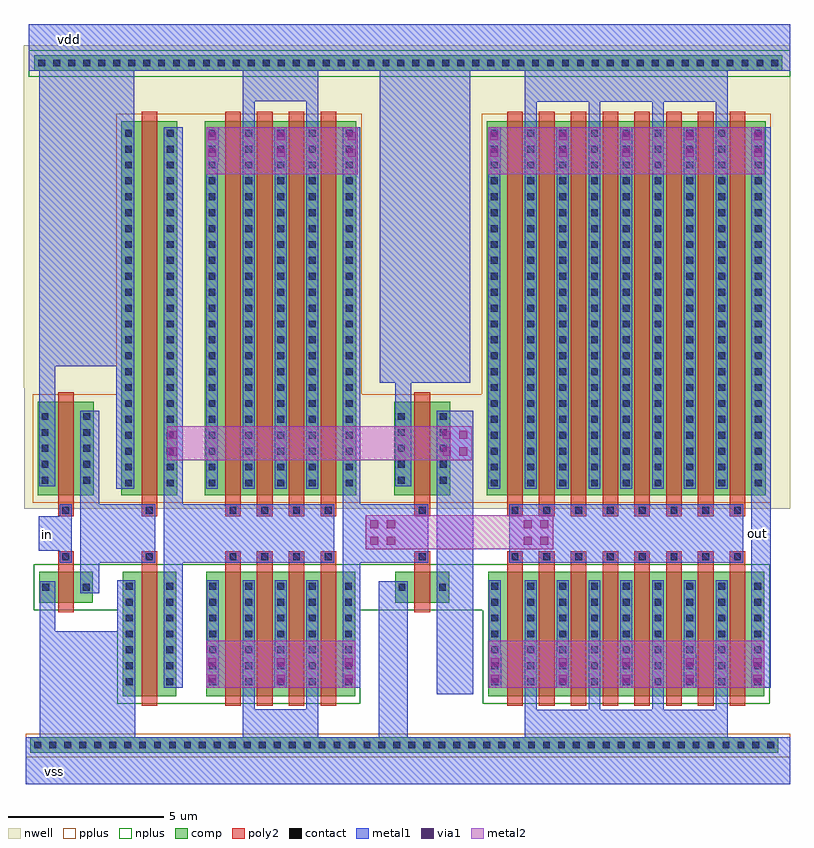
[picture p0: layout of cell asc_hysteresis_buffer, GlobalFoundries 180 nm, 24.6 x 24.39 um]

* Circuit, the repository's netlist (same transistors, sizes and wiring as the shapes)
* Extracted by KLayout with GF180MCU LVS runset on : 02/09/2025 04:54

.SUBCKT asc_hysteresis_buffer vss in vdd out
M$1 \$5 in vdd vdd pfet_03v3 L=0.5U W=3U AS=1.95P AD=1.95P PS=7.3U PD=7.3U
M$2 \$2 \$3 vdd vdd pfet_03v3 L=0.5U W=3U AS=1.95P AD=1.95P PS=7.3U PD=7.3U
M$3 \$2 \$5 vdd vdd pfet_03v3 L=0.5U W=12U AS=7.8P AD=7.8P PS=25.3U PD=25.3U
M$4 vdd \$2 \$3 vdd pfet_03v3 L=0.5U W=48U AS=17.16P AD=17.16P PS=62.86U
+ PD=62.86U
M$8 vdd \$3 out vdd pfet_03v3 L=0.5U W=96U AS=29.64P AD=29.64P PS=112.94U
+ PD=112.94U
M$16 \$5 in vss vss nfet_03v3 L=0.5U W=1U AS=0.61P AD=0.61P PS=3.22U PD=3.22U
M$17 \$2 \$5 vss vss nfet_03v3 L=0.5U W=4U AS=2.44P AD=2.44P PS=9.22U PD=9.22U
M$18 vss \$2 \$3 vss nfet_03v3 L=0.5U W=16U AS=5.56P AD=5.56P PS=22.78U
+ PD=22.78U
M$22 \$2 \$3 vss vss nfet_03v3 L=0.5U W=1U AS=0.61P AD=0.61P PS=3.22U PD=3.22U
M$23 vss \$3 out vss nfet_03v3 L=0.5U W=32U AS=9.72P AD=9.72P PS=40.86U
+ PD=40.86U
.ENDS asc_hysteresis_buffer

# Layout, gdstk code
from math import pi, radians
import gdstk
lib = gdstk.Library(unit=1e-6, precision=5e-09)
def R(c, l, rs):  # rectangles x0, y0, x1, y1
    for r in rs: c.add(gdstk.rectangle(r[:2], r[2:], *l))
def A(c, l, x, y, w, h, nx, ny, dx, dy):  # array of equal rectangles
    R(c, l, [(x+i*dx, y+j*dy, x+i*dx+w, y+j*dy+h) for i in range(nx) for j in range(ny)])
nwell = (21, 0)
comp = (22, 0)
poly2 = (30, 0)
pplus = (31, 0)
nplus = (32, 0)
contact = (33, 0)
metal1 = (34, 0)
via1 = (35, 0)
metal2 = (36, 0)

via_dev = lib.new_cell('via_dev')
R(via_dev, metal1, [(0,0,1.1,0.4)])
R(via_dev, via1, [(0.155,0.07,0.415,0.33), (0.685,0.07,0.945,0.33)])
R(via_dev, metal2, [(0,0,1.1,0.4)])

nfet = lib.new_cell('nfet')
R(nfet, comp, [(-0.42,0,0,4), (0,0,3.94,4), (3.94,0,4.36,4)])
A(nfet, poly2, 0.19, -0.3, 0.5, 4.6, 4, 1, 1.02, 0)
A(nfet, poly2, 0.19, 4.3, 0.5, 0.36, 4, 1, 1.02, 0)
R(nfet, nplus, [(-0.59,-0.24,4.53,4.24)])
A(nfet, contact, -0.32, 0.36, 0.22, 0.22, 1, 7, 0, 0.51)
A(nfet, contact, 0.84, 0.36, 0.22, 0.22, 3, 7, 1.02, 0.51)
A(nfet, contact, 4.04, 0.36, 0.22, 0.22, 1, 7, 0, 0.51)
A(nfet, contact, 0.33, 4.37, 0.22, 0.22, 4, 1, 1.02, 0)
A(nfet, metal1, 0.76, 0.28, 0.38, 3.44, 3, 1, 1.02, 0)
A(nfet, metal1, 0.25, 4.29, 0.38, 0.38, 4, 1, 1.02, 0)
R(nfet, metal1, [(-0.4,0.28,-0.02,3.72), (3.96,0.28,4.34,3.72)])

via_dev_5 = lib.new_cell('via_dev$5')
R(via_dev_5, comp, [(0,0,24,0.5)])
A(via_dev_5, contact, 0.13, 0.14, 0.22, 0.22, 50, 1, 0.48, 0)
R(via_dev_5, metal1, [(0,0,24,0.5)])

via_dev_2 = lib.new_cell('via_dev$2')

pfet_1 = lib.new_cell('pfet$1')
R(pfet_1, nwell, [(-0.9,-0.44,4.84,12.44)])
R(pfet_1, comp, [(-0.46,0,0,12), (0,0,3.94,12), (3.94,0,4.4,12)])
A(pfet_1, poly2, 0.19, -0.68, 0.5, 0.38, 4, 1, 1.02, 0)
A(pfet_1, poly2, 0.19, -0.3, 0.5, 12.6, 4, 1, 1.02, 0)
R(pfet_1, pplus, [(-0.63,-0.24,4.57,12.24)])
A(pfet_1, contact, 0.33, -0.6, 0.22, 0.22, 4, 1, 1.02, 0)
A(pfet_1, contact, -0.34, 0.28, 0.22, 0.22, 1, 23, 0, 0.51)
A(pfet_1, contact, 0.84, 0.28, 0.22, 0.22, 3, 23, 1.02, 0.51)
A(pfet_1, contact, 4.06, 0.28, 0.22, 0.22, 1, 23, 0, 0.51)
A(pfet_1, metal1, 0.25, -0.68, 0.38, 0.38, 4, 1, 1.02, 0)
A(pfet_1, metal1, 0.76, 0.2, 0.38, 11.6, 3, 1, 1.02, 0)
R(pfet_1, metal1, [(-0.42,0.2,-0.04,11.8), (3.98,0.2,4.36,11.8)])

nfet_2 = lib.new_cell('nfet$2')
R(nfet_2, comp, [(-0.42,0,0,4), (0,0,0.88,4), (0.88,0,1.3,4)])
R(nfet_2, poly2, [(0.19,-0.3,0.69,4.3), (0.19,4.3,0.69,4.66)])
R(nfet_2, nplus, [(-0.59,-0.24,1.47,4.24)])
A(nfet_2, contact, -0.32, 0.36, 0.22, 0.22, 1, 7, 0, 0.51)
A(nfet_2, contact, 0.98, 0.36, 0.22, 0.22, 1, 7, 0, 0.51)
R(nfet_2, contact, [(0.33,4.37,0.55,4.59)])
R(nfet_2, metal1, [(-0.4,0.28,-0.02,3.72), (0.9,0.28,1.28,3.72), (0.25,4.29,0.63,4.67)])

pfet_2 = lib.new_cell('pfet$2')
R(pfet_2, nwell, [(-0.9,-0.44,1.78,12.44)])
R(pfet_2, comp, [(-0.46,0,0,12), (0,0,0.88,12), (0.88,0,1.34,12)])
R(pfet_2, poly2, [(0.19,-0.68,0.69,-0.3), (0.19,-0.3,0.69,12.3)])
R(pfet_2, pplus, [(-0.63,-0.24,1.51,12.24)])
A(pfet_2, contact, -0.34, 0.28, 0.22, 0.22, 1, 23, 0, 0.51)
A(pfet_2, contact, 1, 0.28, 0.22, 0.22, 1, 23, 0, 0.51)
R(pfet_2, contact, [(0.33,-0.6,0.55,-0.38)])
R(pfet_2, metal1, [(0.25,-0.68,0.63,-0.3), (-0.42,0.2,-0.04,11.8), (0.92,0.2,1.3,11.8)])

nfet_3 = lib.new_cell('nfet$3')
R(nfet_3, comp, [(-0.42,0,0,1), (0,0,0.88,1), (0.88,0,1.3,1)])
R(nfet_3, poly2, [(0.19,-0.3,0.69,1.3), (0.19,1.3,0.69,1.66)])
R(nfet_3, nplus, [(-0.59,-0.24,1.47,1.24)])
R(nfet_3, contact, [(-0.32,0.39,-0.1,0.61), (0.98,0.39,1.2,0.61), (0.33,1.37,0.55,1.59)])
R(nfet_3, metal1, [(-0.4,0.31,-0.02,0.69), (0.9,0.31,1.28,0.69), (0.25,1.29,0.63,1.67)])

pfet_3 = lib.new_cell('pfet$3')
R(pfet_3, nwell, [(-0.9,-0.44,1.78,3.44)])
R(pfet_3, comp, [(-0.46,0,0,3), (0,0,0.88,3), (0.88,0,1.34,3)])
R(pfet_3, poly2, [(0.19,-0.68,0.69,-0.3), (0.19,-0.3,0.69,3.3)])
R(pfet_3, pplus, [(-0.63,-0.24,1.51,3.24)])
A(pfet_3, contact, -0.34, 0.37, 0.22, 0.22, 1, 5, 0, 0.51)
A(pfet_3, contact, 1, 0.37, 0.22, 0.22, 1, 5, 0, 0.51)
R(pfet_3, contact, [(0.33,-0.6,0.55,-0.38)])
R(pfet_3, metal1, [(0.25,-0.68,0.63,-0.3), (-0.42,0.29,-0.04,2.71), (0.92,0.29,1.3,2.71)])

nfet_1 = lib.new_cell('nfet$1')
R(nfet_1, comp, [(-0.42,0,0,4), (0,0,8.02,4), (8.02,0,8.44,4)])
A(nfet_1, poly2, 0.19, -0.3, 0.5, 4.6, 8, 1, 1.02, 0)
A(nfet_1, poly2, 0.19, 4.3, 0.5, 0.36, 8, 1, 1.02, 0)
R(nfet_1, nplus, [(-0.59,-0.24,8.61,4.24)])
A(nfet_1, contact, -0.32, 0.36, 0.22, 0.22, 1, 7, 0, 0.51)
A(nfet_1, contact, 0.84, 0.36, 0.22, 0.22, 7, 7, 1.02, 0.51)
A(nfet_1, contact, 8.12, 0.36, 0.22, 0.22, 1, 7, 0, 0.51)
A(nfet_1, contact, 0.33, 4.37, 0.22, 0.22, 8, 1, 1.02, 0)
A(nfet_1, metal1, 0.76, 0.28, 0.38, 3.44, 7, 1, 1.02, 0)
A(nfet_1, metal1, 0.25, 4.29, 0.38, 0.38, 8, 1, 1.02, 0)
R(nfet_1, metal1, [(-0.4,0.28,-0.02,3.72), (8.04,0.28,8.42,3.72)])

pfet = lib.new_cell('pfet')
R(pfet, nwell, [(-0.9,-0.44,8.92,12.44)])
R(pfet, comp, [(-0.46,0,0,12), (0,0,8.02,12), (8.02,0,8.48,12)])
A(pfet, poly2, 0.19, -0.68, 0.5, 0.38, 8, 1, 1.02, 0)
A(pfet, poly2, 0.19, -0.3, 0.5, 12.6, 8, 1, 1.02, 0)
R(pfet, pplus, [(-0.63,-0.24,8.65,12.24)])
A(pfet, contact, 0.33, -0.6, 0.22, 0.22, 8, 1, 1.02, 0)
A(pfet, contact, -0.34, 0.28, 0.22, 0.22, 1, 23, 0, 0.51)
A(pfet, contact, 0.84, 0.28, 0.22, 0.22, 7, 23, 1.02, 0.51)
A(pfet, contact, 8.14, 0.28, 0.22, 0.22, 1, 23, 0, 0.51)
A(pfet, metal1, 0.25, -0.68, 0.38, 0.38, 8, 1, 1.02, 0)
A(pfet, metal1, 0.76, 0.2, 0.38, 11.6, 7, 1, 1.02, 0)
R(pfet, metal1, [(-0.42,0.2,-0.04,11.8), (8.06,0.2,8.44,11.8)])

nfet_4 = lib.new_cell('nfet$4')
R(nfet_4, comp, [(-0.42,0,0,1), (0,0,0.88,1), (0.88,0,1.3,1)])
R(nfet_4, poly2, [(0.19,-0.3,0.69,1.3), (0.19,1.3,0.69,1.66)])
R(nfet_4, nplus, [(-0.59,-0.24,1.47,1.24)])
R(nfet_4, contact, [(-0.32,0.39,-0.1,0.61), (0.98,0.39,1.2,0.61), (0.33,1.37,0.55,1.59)])
R(nfet_4, metal1, [(-0.4,0.31,-0.02,0.69), (0.9,0.31,1.28,0.69), (0.25,1.29,0.63,1.67)])

pfet_4 = lib.new_cell('pfet$4')
R(pfet_4, nwell, [(-0.9,-0.44,1.78,3.44)])
R(pfet_4, comp, [(-0.46,0,0,3), (0,0,0.88,3), (0.88,0,1.34,3)])
R(pfet_4, poly2, [(0.19,-0.68,0.69,-0.3), (0.19,-0.3,0.69,3.3)])
R(pfet_4, pplus, [(-0.63,-0.24,1.51,3.24)])
A(pfet_4, contact, -0.34, 0.37, 0.22, 0.22, 1, 5, 0, 0.51)
A(pfet_4, contact, 1, 0.37, 0.22, 0.22, 1, 5, 0, 0.51)
R(pfet_4, contact, [(0.33,-0.6,0.55,-0.38)])
R(pfet_4, metal1, [(0.25,-0.68,0.63,-0.3), (-0.42,0.29,-0.04,2.71), (0.92,0.29,1.3,2.71)])

via_dev_4 = lib.new_cell('via_dev$4')
R(via_dev_4, metal1, [(0,0,1.1,1.1)])
R(via_dev_4, via1, [(0.155,0.155,0.415,0.415), (0.685,0.155,0.945,0.415), (0.155,0.685,0.415,0.945), (0.685,0.685,0.945,0.945)])
R(via_dev_4, metal2, [(0,0,1.1,1.1)])

via_dev_6 = lib.new_cell('via_dev$6')
R(via_dev_6, metal1, [(0,0,1.1,0.4)])
R(via_dev_6, via1, [(0.155,0.07,0.415,0.33), (0.685,0.07,0.945,0.33)])
R(via_dev_6, metal2, [(0,0,1.1,0.4)])

asc_hysteresis_buffer = lib.new_cell('asc_hysteresis_buffer')
R(asc_hysteresis_buffer, nwell, [(11.04,5.945,14.35,18.825), (20.86,5.945,24.525,18.825), (-0.075,9.825,2.62,18.625), (-0.075,18.625,2.62,18.825), (-0.075,18.825,24.525,20.825)])
R(asc_hysteresis_buffer, pplus, [(-0.01,-2.025,24.525,-1.275), (2.35,6.145,2.89,9.625), (5.03,6.145,5.57,18.625), (10.77,6.145,11.645,9.625), (13.785,6.145,14.62,9.625)])
R(asc_hysteresis_buffer, nplus, [(4.99,-0.31,5.61,4.17), (2.31,2.69,2.93,4.17), (10.73,2.69,11.685,4.17), (13.745,2.69,14.66,4.17), (0.085,19.8,24.525,20.665)])
A(asc_hysteresis_buffer, metal1, 16.01, -1.385, 0.38, 1.595, 4, 1, 2.04, 0)
A(asc_hysteresis_buffer, metal1, 16.01, 18.185, 0.38, 1.815, 4, 1, 2.04, 0)
R(asc_hysteresis_buffer, metal1, [(-0.01,-2.885,24.525,-1.385), (-0.01,-1.885,0.14,-1.385), (0.44,-1.385,0.945,3.62), (0.945,-1.385,2.93,2.01), (2.93,-1.385,3.5,3.65), (6.96,-1.385,7.34,0.21), (7.34,-1.385,9,-0.49), (9,-1.385,9.38,0.21), (11.32,-1.385,12.255,3.62), (16.39,-1.385,22.13,-0.495), (13.175,-0.01,14.35,9.095), (10.16,0.205,10.73,18.185), (4.42,0.21,5.03,18.185), (23.27,0.21,23.9,18.185), (1.74,3.24,2.35,9.095), (2.35,4.22,4.15,6.085), (5.03,4.22,9.89,6.085), (10.73,4.22,12.905,6.085), (15.5,4.22,23.02,6.085), (0.41,4.6,1.47,5.705), (3.77,4.6,4.15,5.705), (2.89,6.585,3.48,20), (1.76,6.605,2.14,6.675), (13.195,6.605,13.575,6.675), (0.42,6.675,0.935,20), (11.855,6.675,12.365,20), (11.355,9.99,14.25,20), (0.935,10.515,2.89,20), (6.96,18.185,7.34,20), (9,18.185,9.38,20), (16.39,19.01,22.13,20), (7.34,19.015,9,20), (0.085,20,24.525,21.5), (0.12,20,0.27,20.5)])
R(asc_hysteresis_buffer, metal2, [(5.78,0.205,10.56,1.71), (14.85,0.205,23.69,1.71), (10.895,4.64,16.92,5.74), (4.525,7.495,14.31,8.6), (5.78,16.685,10.65,18.185), (14.83,16.685,23.69,18.185)])
asc_hysteresis_buffer.add(gdstk.Reference(via_dev, (6.18,0.21), rotation=pi/2))
asc_hysteresis_buffer.add(gdstk.Reference(nfet, (6.2,-0.07)))
asc_hysteresis_buffer.add(gdstk.Reference(via_dev_5, (0.27,20)))
asc_hysteresis_buffer.add(gdstk.Reference(via_dev_5, (0.14,-1.885)))
asc_hysteresis_buffer.add(gdstk.Reference(via_dev, (8.37,0.21), rotation=pi/2))
asc_hysteresis_buffer.add(gdstk.Reference(via_dev_2, (4.84,-1.09), rotation=pi/2))
asc_hysteresis_buffer.add(gdstk.Reference(pfet_1, (6.2,6.385)))
asc_hysteresis_buffer.add(gdstk.Reference(nfet_2, (3.52,-0.07)))
asc_hysteresis_buffer.add(gdstk.Reference(via_dev_2, (2.16,-1.09), rotation=pi/2))
asc_hysteresis_buffer.add(gdstk.Reference(pfet_2, (3.52,6.385)))
asc_hysteresis_buffer.add(gdstk.Reference(via_dev_2, (-2.14,-1.09), rotation=pi/2))
asc_hysteresis_buffer.add(gdstk.Reference(nfet_3, (0.84,2.93)))
asc_hysteresis_buffer.add(gdstk.Reference(pfet_3, (0.84,6.385)))
asc_hysteresis_buffer.add(gdstk.Reference(via_dev, (6.18,17.085), rotation=pi/2))
asc_hysteresis_buffer.add(gdstk.Reference(via_dev, (8.37,17.085), rotation=pi/2))
asc_hysteresis_buffer.add(gdstk.Reference(nfet_1, (15.25,-0.07)))
asc_hysteresis_buffer.add(gdstk.Reference(via_dev, (15.23,17.085), rotation=pi/2))
asc_hysteresis_buffer.add(gdstk.Reference(via_dev, (17.42,17.085), rotation=pi/2))
asc_hysteresis_buffer.add(gdstk.Reference(via_dev, (19.46,17.085), rotation=pi/2))
asc_hysteresis_buffer.add(gdstk.Reference(via_dev, (21.5,17.085), rotation=pi/2))
asc_hysteresis_buffer.add(gdstk.Reference(via_dev, (23.69,17.085), rotation=pi/2))
asc_hysteresis_buffer.add(gdstk.Reference(via_dev, (15.25,0.21), rotation=pi/2))
asc_hysteresis_buffer.add(gdstk.Reference(via_dev, (17.42,0.21), rotation=pi/2))
asc_hysteresis_buffer.add(gdstk.Reference(via_dev, (19.46,0.21), rotation=pi/2))
asc_hysteresis_buffer.add(gdstk.Reference(via_dev, (21.5,0.21), rotation=pi/2))
asc_hysteresis_buffer.add(gdstk.Reference(via_dev, (10.65,17.085), rotation=pi/2))
asc_hysteresis_buffer.add(gdstk.Reference(via_dev, (10.56,0.21), rotation=pi/2))
asc_hysteresis_buffer.add(gdstk.Reference(pfet, (15.25,6.385)))
asc_hysteresis_buffer.add(gdstk.Reference(via_dev, (23.67,0.21), rotation=pi/2))
asc_hysteresis_buffer.add(gdstk.Reference(nfet_4, (12.275,2.93)))
asc_hysteresis_buffer.add(gdstk.Reference(pfet_4, (12.275,6.385)))
asc_hysteresis_buffer.add(gdstk.Reference(via_dev_4, (11.995,4.64), rotation=pi/2))
asc_hysteresis_buffer.add(gdstk.Reference(via_dev_4, (16.92,4.64), rotation=pi/2))
asc_hysteresis_buffer.add(gdstk.Reference(via_dev_4, (14.31,7.5), rotation=pi/2))
asc_hysteresis_buffer.add(gdstk.Reference(via_dev_6, (4.925,7.5), rotation=pi/2))
asc_hysteresis_buffer.add(gdstk.Label('vss', (0.925,-2.48), layer=34, texttype=10))
asc_hysteresis_buffer.add(gdstk.Label('in', (0.675,5.115), layer=34, texttype=10))
asc_hysteresis_buffer.add(gdstk.Label('vdd', (1.385,21), layer=34, texttype=10))
asc_hysteresis_buffer.add(gdstk.Label('out', (23.485,5.145), layer=34, texttype=10))

lib.write_gds('asc_hysteresis_buffer.gds')
